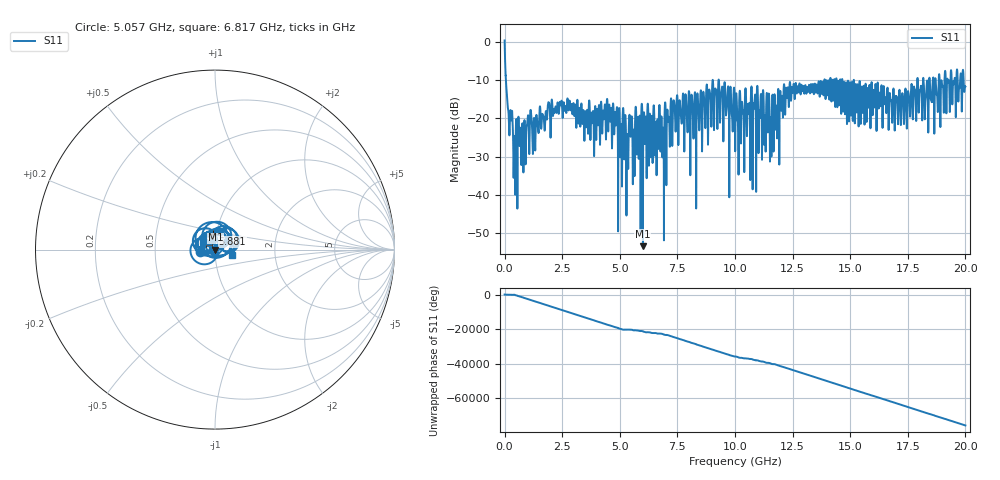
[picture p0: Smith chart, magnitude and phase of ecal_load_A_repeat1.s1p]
! MS46122B
! 2250307/22442219
! 7/22/2025 7:53:02 AM
! C:\USERS\SPARKY\DOCUMENTS\VNA_DATA\JULY22_2025\3K\ECAL_LOAD_A_REPEAT1.S1P
! CHANNEL.1
! TR.MEASUREMENT
! RAW.DATA
# GHZ S RI R 50.0
! FREQ.GHZ  S11RE  S11IM
!; PortSelection: Port_1
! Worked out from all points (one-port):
!   10001 points, 1 MHz to 20 GHz, reference 50 ohm
!   lowest |S11| = -53.4 dB at 6.005 GHz (marker M1), VSWR 1.00, Z = 50.2 - j0.11 ohm
!   |S11| at or under -10 dB: 57.25 MHz to 9.028 GHz (8.971 GHz wide, 197 % of centre); 9.3 GHz to 13.88 GHz (4.58 GHz wide, 39.5 % of centre); 15.16 GHz to 17.91 GHz (2.749 GHz wide, 16.6 % of centre) (the widest 3 of 25)
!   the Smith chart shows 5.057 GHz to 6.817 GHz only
!   S11 on the Smith chart (normalised r, x): 5.057 GHz: 0.85, -0.02; 5.881 GHz: 0.96, +0.17; 6.817 GHz: 1.20, -0.07
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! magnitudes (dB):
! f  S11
! 1 MHz  0.4
! 145 MHz  -17.3
! 469 MHz  -33.8
! 1.075 GHz  -28.5
! 1.269 GHz  -20.4
! 1.869 GHz  -17.3
! 2.501 GHz  -17.7
! 3.807 GHz  -21.1
! 4.527 GHz  -17.2
! 5.001 GHz  -20.7
! 5.057 GHz  -21.5
! 5.283 GHz  -33.4
! 5.451 GHz  -21.9
! 5.881 GHz  -21.0
! 6.005 GHz  -53.4
! 6.817 GHz  -20.1
! 7.293 GHz  -20.8
! 7.501 GHz  -14.4
! 8.389 GHz  -14.5
! 9.101 GHz  -18.3
! 10 GHz  -22.6
! 10.08 GHz  -17.1
! 10.9 GHz  -17.7
! 11.59 GHz  -20.4
! 12.5 GHz  -13.1
! 15 GHz  -11.1
! 17.5 GHz  -13.3
! 20 GHz  -11.7
